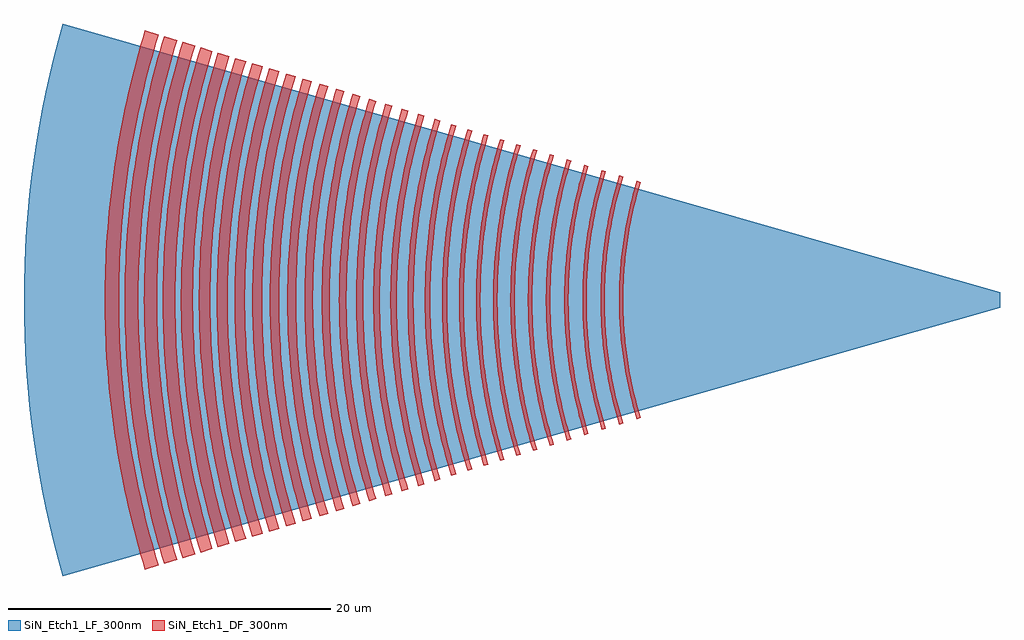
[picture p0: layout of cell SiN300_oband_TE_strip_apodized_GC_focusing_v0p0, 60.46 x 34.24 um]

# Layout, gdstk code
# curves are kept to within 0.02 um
import gdstk
lib = gdstk.Library(unit=1e-6, precision=1e-09)
def P(c, l, *ps):  # polygons
    for p in ps: c.add(gdstk.Polygon(p, *l))
SiN_Etch1_LF_300nm = (203, 0)
SiN_Etch1_DF_300nm = (204, 0)

sin300_oband_te_strip_ap = lib.new_cell('SiN300_oband_TE_strip_apodized_GC_focusing_v0p0')
P(sin300_oband_te_strip_ap, SiN_Etch1_LF_300nm, [(-58.05,-17.121),(-58.611,-15.026),(-59.099,-12.914),(-59.512,-10.786),(-59.852,-8.644),(-60.116,-6.493),(-60.305,-4.333),(-60.418,-2.168),(-60.456,0),(-60.418,2.168),(-60.305,4.333),(-60.116,6.493),(-59.852,8.644),(-59.512,10.786),(-59.099,12.914),(-58.611,15.026),(-58.05,17.121),(0,0.475),(0,-0.475)])
P(sin300_oband_te_strip_ap, SiN_Etch1_DF_300nm, [(-22.492,-7.38),(-22.995,-5.466),(-23.349,-3.514),(-23.532,-1.761),(-23.594,0),(-23.532,1.761),(-23.349,3.514),(-22.995,5.466),(-22.492,7.38),(-22.251,7.309),(-22.702,5.624),(-23.068,3.695),(-23.266,1.961),(-23.343,0),(-23.266,-1.961),(-23.068,-3.695),(-22.702,-5.624),(-22.251,-7.309)],
  [(-23.587,-7.715),(-24.063,-5.938),(-24.449,-3.902),(-24.595,-2.759),(-24.674,-1.842),(-24.739,0),(-24.674,1.842),(-24.595,2.759),(-24.449,3.902),(-24.063,5.938),(-23.587,7.715),(-23.347,7.644),(-23.819,5.882),(-24.009,4.989),(-24.202,3.865),(-24.346,2.733),(-24.425,1.824),(-24.489,0),(-24.425,-1.824),(-24.346,-2.733),(-24.202,-3.865),(-24.009,-4.989),(-23.819,-5.882),(-23.347,-7.644)],
  [(-24.659,-8.044),(-24.924,-7.122),(-25.209,-5.956),(-25.443,-4.779),(-25.594,-3.83),(-25.794,-1.919),(-25.861,0),(-25.794,1.919),(-25.594,3.83),(-25.443,4.779),(-25.209,5.956),(-24.924,7.122),(-24.659,8.044),(-24.42,7.972),(-24.682,7.057),(-24.965,5.902),(-25.311,4.03),(-25.436,3.087),(-25.545,1.902),(-25.611,0),(-25.545,-1.902),(-25.436,-3.087),(-25.311,-4.03),(-24.965,-5.902),(-24.682,-7.057),(-24.42,-7.972)],
  [(-25.739,-8.374),(-26.078,-7.173),(-26.311,-6.201),(-26.675,-4.234),(-26.806,-3.242),(-26.92,-1.998),(-26.99,0),(-26.92,1.998),(-26.806,3.242),(-26.675,4.234),(-26.311,6.201),(-26.078,7.173),(-25.739,8.374),(-25.49,8.3),(-25.826,7.108),(-26.057,6.144),(-26.418,4.196),(-26.548,3.213),(-26.661,1.98),(-26.73,0),(-26.661,-1.98),(-26.548,-3.213),(-26.418,-4.196),(-26.057,-6.144),(-25.826,-7.108),(-25.49,-8.3)],
  [(-26.823,-8.706),(-27.176,-7.456),(-27.418,-6.446),(-27.797,-4.402),(-28.032,-2.336),(-28.096,-1.299),(-28.124,0),(-28.096,1.299),(-28.032,2.336),(-27.797,4.402),(-27.418,6.446),(-27.176,7.456),(-26.823,8.706),(-26.57,8.63),(-26.92,7.39),(-27.16,6.389),(-27.536,4.363),(-27.769,2.316),(-27.832,1.288),(-27.86,0),(-27.832,-1.288),(-27.769,-2.316),(-27.536,-4.363),(-27.16,-6.389),(-26.92,-7.39),(-26.57,-8.63)],
  [(-27.888,-9.032),(-28.254,-7.736),(-28.506,-6.687),(-28.899,-4.567),(-29.143,-2.424),(-29.209,-1.347),(-29.238,0),(-29.209,1.347),(-29.143,2.424),(-28.899,4.567),(-28.506,6.687),(-28.254,7.736),(-27.888,9.032),(-27.637,8.956),(-28.191,6.891),(-28.463,5.582),(-28.64,4.528),(-28.882,2.403),(-28.947,1.336),(-28.976,0),(-28.947,-1.336),(-28.882,-2.403),(-28.64,-4.528),(-28.463,-5.582),(-28.191,-6.891),(-27.637,-8.956)],
  [(-28.926,-9.349),(-29.305,-8.007),(-29.565,-6.922),(-29.972,-4.726),(-30.148,-3.343),(-30.245,-2.231),(-30.304,-1.116),(-30.323,0),(-30.304,1.116),(-30.245,2.231),(-30.148,3.343),(-29.972,4.726),(-29.565,6.922),(-29.305,8.007),(-28.926,9.349),(-28.674,9.273),(-29.247,7.135),(-29.529,5.78),(-29.712,4.688),(-29.856,3.59),(-29.983,2.212),(-30.06,0),(-29.983,-2.212),(-29.856,-3.59),(-29.712,-4.688),(-29.529,-5.78),(-29.247,-7.135),(-28.674,-9.273)],
  [(-29.952,-9.663),(-30.344,-8.275),(-30.613,-7.154),(-30.843,-6.023),(-31.033,-4.886),(-31.294,-2.593),(-31.365,-1.442),(-31.396,0),(-31.365,1.442),(-31.294,2.593),(-31.033,4.886),(-30.843,6.023),(-30.613,7.154),(-30.344,8.275),(-29.952,9.663),(-29.697,9.586),(-30.013,8.486),(-30.29,7.375),(-30.528,6.256),(-30.77,4.846),(-31.029,2.572),(-31.099,1.43),(-31.13,0),(-31.099,-1.43),(-31.029,-2.572),(-30.77,-4.846),(-30.528,-6.256),(-30.29,-7.375),(-30.013,-8.486),(-29.697,-9.586)],
  [(-30.962,-9.971),(-31.29,-8.828),(-31.644,-7.383),(-32.077,-5.042),(-32.266,-3.565),(-32.347,-2.676),(-32.42,-1.487),(-32.452,0),(-32.42,1.487),(-32.347,2.676),(-32.266,3.565),(-32.077,5.042),(-31.644,7.383),(-31.29,8.828),(-30.962,9.971),(-30.705,9.894),(-31.031,8.759),(-31.317,7.613),(-31.617,6.167),(-31.812,5.002),(-31.999,3.537),(-32.102,2.361),(-32.163,1.181),(-32.184,0),(-32.163,-1.181),(-32.102,-2.361),(-31.999,-3.537),(-31.812,-5.002),(-31.617,-6.167),(-31.317,-7.613),(-31.031,-8.759),(-30.705,-9.894)],
  [(-31.968,-10.279),(-32.306,-9.1),(-32.603,-7.91),(-32.858,-6.709),(-33.118,-5.197),(-33.278,-3.98),(-33.418,-2.453),(-33.483,-1.227),(-33.504,0),(-33.483,1.227),(-33.418,2.453),(-33.278,3.98),(-33.118,5.197),(-32.858,6.709),(-32.603,7.91),(-32.306,9.1),(-31.968,10.279),(-31.696,10.197),(-32.032,9.027),(-32.326,7.846),(-32.636,6.356),(-32.837,5.155),(-32.996,3.948),(-33.135,2.433),(-33.199,1.217),(-33.22,0),(-33.199,-1.217),(-33.135,-2.433),(-32.996,-3.948),(-32.837,-5.155),(-32.636,-6.356),(-32.326,-7.846),(-32.032,-9.027),(-31.696,-10.197)],
  [(-32.981,-10.588),(-33.409,-9.069),(-33.705,-7.839),(-33.957,-6.601),(-34.166,-5.354),(-34.33,-4.1),(-34.475,-2.527),(-34.541,-1.264),(-34.563,0),(-34.541,1.264),(-34.475,2.527),(-34.33,4.1),(-34.166,5.354),(-33.957,6.601),(-33.705,7.839),(-33.409,9.069),(-32.981,10.588),(-32.683,10.499),(-33.028,9.294),(-33.332,8.078),(-33.651,6.544),(-33.858,5.308),(-34.021,4.065),(-34.165,2.505),(-34.23,1.253),(-34.252,0),(-34.23,-1.253),(-34.165,-2.505),(-34.021,-4.065),(-33.858,-5.308),(-33.651,-6.544),(-33.332,-8.078),(-33.028,-9.294),(-32.683,-10.499)],
  [(-33.999,-10.899),(-34.357,-9.65),(-34.743,-8.07),(-35.002,-6.795),(-35.217,-5.511),(-35.387,-4.221),(-35.512,-2.926),(-35.592,-1.627),(-35.627,0),(-35.592,1.627),(-35.512,2.926),(-35.387,4.221),(-35.217,5.511),(-35.002,6.795),(-34.743,8.07),(-34.357,9.65),(-33.999,10.899),(-33.676,10.802),(-34.031,9.563),(-34.343,8.311),(-34.611,7.05),(-34.884,5.461),(-35.088,3.862),(-35.2,2.577),(-35.267,1.289),(-35.29,0),(-35.267,-1.289),(-35.2,-2.577),(-35.088,-3.862),(-34.884,-5.461),(-34.611,-7.05),(-34.343,-8.311),(-34.031,-9.563),(-33.676,-10.802)],
  [(-35.018,-11.212),(-35.387,-9.926),(-35.784,-8.301),(-36.051,-6.989),(-36.272,-5.668),(-36.447,-4.341),(-36.575,-3.009),(-36.657,-1.673),(-36.693,0),(-36.657,1.673),(-36.575,3.009),(-36.447,4.341),(-36.272,5.668),(-36.051,6.989),(-35.784,8.301),(-35.387,9.926),(-35.018,11.212),(-34.671,11.107),(-35.037,9.832),(-35.431,8.222),(-35.695,6.923),(-35.914,5.615),(-36.087,4.3),(-36.214,2.981),(-36.308,1.326),(-36.331,0),(-36.308,-1.326),(-36.214,-2.981),(-36.087,-4.3),(-35.914,-5.615),(-35.695,-6.923),(-35.431,-8.222),(-35.037,-9.832),(-34.671,-11.107)],
  [(-36.037,-11.522),(-36.503,-9.869),(-36.824,-8.531),(-37.098,-7.183),(-37.325,-5.826),(-37.505,-4.462),(-37.637,-3.093),(-37.721,-1.718),(-37.758,0),(-37.721,1.718),(-37.637,3.093),(-37.505,4.462),(-37.325,5.826),(-37.098,7.183),(-36.824,8.531),(-36.503,9.869),(-36.037,11.522),(-35.668,11.411),(-36.043,10.102),(-36.373,8.78),(-36.656,7.447),(-36.944,5.769),(-37.122,4.418),(-37.253,3.062),(-37.336,1.702),(-37.373,0),(-37.336,-1.702),(-37.253,-3.062),(-37.122,-4.418),(-36.944,-5.769),(-36.656,-7.447),(-36.373,-8.78),(-36.043,-10.102),(-35.668,-11.411)],
  [(-37.053,-11.833),(-37.442,-10.477),(-37.784,-9.106),(-38.078,-7.724),(-38.377,-5.983),(-38.56,-4.582),(-38.696,-3.176),(-38.797,-1.412),(-38.821,0),(-38.797,1.412),(-38.696,3.176),(-38.56,4.582),(-38.377,5.983),(-38.078,7.724),(-37.784,9.106),(-37.442,10.477),(-37.053,11.833),(-36.661,11.715),(-37.047,10.371),(-37.385,9.014),(-37.676,7.646),(-37.972,5.923),(-38.154,4.536),(-38.314,2.795),(-38.388,1.398),(-38.412,0),(-38.388,-1.398),(-38.314,-2.795),(-38.154,-4.536),(-37.972,-5.923),(-37.676,-7.646),(-37.385,-9.014),(-37.047,-10.371),(-36.661,-11.715)],
  [(-38.069,-12.143),(-38.56,-10.401),(-38.899,-8.991),(-39.188,-7.57),(-39.426,-6.14),(-39.656,-4.342),(-39.782,-2.897),(-39.858,-1.45),(-39.883,0),(-39.858,1.45),(-39.782,2.897),(-39.656,4.342),(-39.426,6.14),(-39.188,7.57),(-38.899,8.991),(-38.56,10.401),(-38.069,12.143),(-37.653,12.018),(-38.14,10.292),(-38.475,8.897),(-38.761,7.491),(-38.997,6.076),(-39.185,4.653),(-39.349,2.867),(-39.424,1.435),(-39.449,0),(-39.424,-1.435),(-39.349,-2.867),(-39.185,-4.653),(-38.997,-6.076),(-38.761,-7.491),(-38.475,-8.897),(-38.14,-10.292),(-37.653,-12.018)],
  [(-39.084,-12.454),(-39.493,-11.026),(-39.853,-9.583),(-40.163,-8.129),(-40.477,-6.297),(-40.671,-4.823),(-40.814,-3.342),(-40.905,-1.858),(-40.945,0),(-40.905,1.858),(-40.814,3.342),(-40.671,4.823),(-40.477,6.297),(-40.163,8.129),(-39.853,9.583),(-39.493,11.026),(-39.084,12.454),(-38.644,12.321),(-39.049,10.907),(-39.405,9.48),(-39.711,8.041),(-40.022,6.229),(-40.214,4.771),(-40.355,3.306),(-40.445,1.838),(-40.485,0),(-40.445,-1.838),(-40.355,-3.306),(-40.214,-4.771),(-40.022,-6.229),(-39.711,-8.041),(-39.405,-9.48),(-39.049,-10.907),(-38.644,-12.321)],
  [(-40.1,-12.765),(-40.618,-10.933),(-40.973,-9.45),(-41.277,-7.958),(-41.529,-6.454),(-41.727,-4.943),(-41.874,-3.426),(-41.982,-1.524),(-42.008,0),(-41.982,1.524),(-41.874,3.426),(-41.727,4.943),(-41.529,6.454),(-41.277,7.958),(-40.973,9.45),(-40.618,10.933),(-40.1,12.765),(-39.634,12.624),(-40.146,10.811),(-40.498,9.345),(-40.798,7.869),(-41.047,6.382),(-41.243,4.888),(-41.416,3.012),(-41.495,1.507),(-41.521,0),(-41.495,-1.507),(-41.416,-3.012),(-41.243,-4.888),(-41.047,-6.382),(-40.798,-7.869),(-40.498,-9.345),(-40.146,-10.811),(-39.634,-12.624)],
  [(-41.122,-13.076),(-41.551,-11.578),(-41.93,-10.063),(-42.327,-8.152),(-42.584,-6.612),(-42.789,-5.065),(-42.967,-3.12),(-43.049,-1.561),(-43.076,0),(-43.049,1.561),(-42.967,3.12),(-42.789,5.065),(-42.584,6.612),(-42.327,8.152),(-41.93,10.063),(-41.551,11.578),(-41.122,13.076),(-40.628,12.928),(-41.053,11.444),(-41.427,9.947),(-41.82,8.058),(-42.074,6.536),(-42.276,5.006),(-42.424,3.469),(-42.518,1.929),(-42.56,0),(-42.518,-1.929),(-42.424,-3.469),(-42.276,-5.006),(-42.074,-6.536),(-41.82,-8.058),(-41.427,-9.947),(-41.053,-11.444),(-40.628,-12.928)],
  [(-42.148,-13.391),(-42.588,-11.855),(-42.975,-10.304),(-43.382,-8.347),(-43.646,-6.771),(-43.855,-5.186),(-44.038,-3.196),(-44.121,-1.599),(-44.149,0),(-44.121,1.599),(-44.038,3.196),(-43.855,5.186),(-43.646,6.771),(-43.382,8.347),(-42.975,10.304),(-42.588,11.855),(-42.148,13.391),(-41.625,13.233),(-42.061,11.714),(-42.443,10.181),(-42.845,8.248),(-43.106,6.69),(-43.312,5.124),(-43.493,3.157),(-43.575,1.58),(-43.603,0),(-43.575,-1.58),(-43.493,-3.157),(-43.312,-5.124),(-43.106,-6.69),(-42.845,-8.248),(-42.443,-10.181),(-42.061,-11.714),(-41.625,-13.233)],
  [(-43.182,-13.705),(-43.631,-12.135),(-44.027,-10.547),(-44.444,-8.544),(-44.714,-6.93),(-44.972,-4.902),(-45.115,-3.271),(-45.201,-1.636),(-45.229,0),(-45.201,1.636),(-45.115,3.271),(-44.972,4.902),(-44.714,6.93),(-44.444,8.544),(-44.027,10.547),(-43.631,12.135),(-43.182,13.705),(-42.629,13.539),(-43.074,11.986),(-43.465,10.417),(-43.877,8.439),(-44.143,6.845),(-44.398,4.841),(-44.539,3.23),(-44.624,1.616),(-44.652,0),(-44.624,-1.616),(-44.539,-3.23),(-44.398,-4.841),(-44.143,-6.845),(-43.877,-8.439),(-43.465,-10.417),(-43.074,-11.986),(-42.629,-13.539)],
  [(-44.22,-14.025),(-44.788,-12.011),(-45.179,-10.383),(-45.513,-8.742),(-45.789,-7.091),(-46.054,-5.014),(-46.2,-3.347),(-46.287,-1.674),(-46.316,0),(-46.287,1.674),(-46.2,3.347),(-46.054,5.014),(-45.789,7.091),(-45.513,8.742),(-45.179,10.383),(-44.788,12.011),(-44.22,14.025),(-43.637,13.848),(-44.093,12.259),(-44.493,10.655),(-44.837,9.037),(-45.187,7.001),(-45.403,5.362),(-45.592,3.304),(-45.678,1.653),(-45.707,0),(-45.678,-1.653),(-45.592,-3.304),(-45.403,-5.362),(-45.187,-7.001),(-44.837,-9.037),(-44.493,-10.655),(-44.093,-12.259),(-43.637,-13.848)],
  [(-45.267,-14.343),(-45.738,-12.7),(-46.153,-11.037),(-46.588,-8.942),(-46.871,-7.253),(-47.095,-5.555),(-47.259,-3.849),(-47.381,-1.712),(-47.41,0),(-47.381,1.712),(-47.259,3.849),(-47.095,5.555),(-46.871,7.253),(-46.588,8.942),(-46.153,11.037),(-45.738,12.7),(-45.267,14.343),(-44.653,14.158),(-45.119,12.534),(-45.528,10.893),(-45.958,8.825),(-46.237,7.158),(-46.458,5.482),(-46.62,3.799),(-46.74,1.69),(-46.769,0),(-46.74,-1.69),(-46.62,-3.799),(-46.458,-5.482),(-46.237,-7.158),(-45.958,-8.825),(-45.528,-10.893),(-45.119,-12.534),(-44.653,-14.158)],
  [(-46.319,-14.666),(-46.802,-12.984),(-47.322,-10.858),(-47.671,-9.143),(-47.96,-7.415),(-48.189,-5.679),(-48.356,-3.935),(-48.481,-1.75),(-48.511,0),(-48.481,1.75),(-48.356,3.935),(-48.189,5.679),(-47.96,7.415),(-47.671,9.143),(-47.322,10.858),(-46.802,12.984),(-46.319,14.666),(-45.674,14.471),(-46.151,12.81),(-46.664,10.712),(-47.008,9.02),(-47.293,7.316),(-47.566,5.174),(-47.716,3.453),(-47.807,1.727),(-47.837,0),(-47.807,-1.727),(-47.716,-3.453),(-47.566,-5.174),(-47.293,-7.316),(-47.008,-9.02),(-46.664,-10.712),(-46.151,-12.81),(-45.674,-14.471)],
  [(-47.379,-14.99),(-47.872,-13.271),(-48.305,-11.535),(-48.677,-9.783),(-49.056,-7.58),(-49.289,-5.805),(-49.461,-4.023),(-49.588,-1.79),(-49.619,0),(-49.588,1.79),(-49.461,4.023),(-49.289,5.805),(-49.056,7.58),(-48.677,9.783),(-48.305,11.535),(-47.872,13.271),(-47.379,14.99),(-46.702,14.785),(-47.189,13.088),(-47.616,11.376),(-47.983,9.649),(-48.357,7.475),(-48.587,5.725),(-48.789,3.528),(-48.881,1.765),(-48.912,0),(-48.881,-1.765),(-48.789,-3.528),(-48.587,-5.725),(-48.357,-7.475),(-47.983,-9.649),(-47.616,-11.376),(-47.189,-13.088),(-46.702,-14.785)],
  [(-48.446,-15.315),(-48.95,-13.56),(-49.392,-11.786),(-49.858,-9.548),(-50.16,-7.744),(-50.398,-5.931),(-50.574,-4.11),(-50.704,-1.828),(-50.735,0),(-50.704,1.828),(-50.574,4.11),(-50.398,5.931),(-50.16,7.744),(-49.858,9.548),(-49.392,11.786),(-48.95,13.56),(-48.446,15.315),(-47.737,15.101),(-48.349,12.932),(-48.77,11.179),(-49.129,9.413),(-49.427,7.635),(-49.662,5.847),(-49.835,4.052),(-49.963,1.803),(-49.994,0),(-49.963,-1.803),(-49.835,-4.052),(-49.662,-5.847),(-49.427,-7.635),(-49.129,-9.413),(-48.77,-11.179),(-48.349,-12.932),(-47.737,-15.101)],
  [(-49.523,-15.645),(-50.038,-13.852),(-50.593,-11.583),(-50.965,-9.753),(-51.274,-7.911),(-51.568,-5.594),(-51.731,-3.734),(-51.829,-1.868),(-51.861,0),(-51.829,1.868),(-51.731,3.734),(-51.568,5.594),(-51.274,7.911),(-50.965,9.753),(-50.593,11.583),(-50.038,13.852),(-49.523,15.645),(-48.78,15.42),(-49.288,13.651),(-49.835,11.415),(-50.202,9.611),(-50.506,7.796),(-50.746,5.971),(-50.957,3.679),(-51.053,1.841),(-51.085,0),(-51.053,-1.841),(-50.957,-3.679),(-50.746,-5.971),(-50.506,-7.796),(-50.202,-9.611),(-49.835,-11.415),(-49.288,-13.651),(-48.78,-15.42)],
  [(-50.634,-15.984),(-51.281,-13.691),(-51.727,-11.835),(-52.107,-9.966),(-52.422,-8.082),(-52.724,-5.716),(-52.89,-3.815),(-52.99,-1.908),(-53.023,0),(-52.99,1.908),(-52.89,3.815),(-52.724,5.716),(-52.422,8.082),(-52.107,9.966),(-51.727,11.835),(-51.281,13.691),(-50.634,15.984),(-49.857,15.749),(-50.495,13.487),(-50.934,11.659),(-51.309,9.817),(-51.619,7.962),(-51.865,6.098),(-52.08,3.758),(-52.178,1.88),(-52.211,0),(-52.178,-1.88),(-52.08,-3.758),(-51.865,-6.098),(-51.619,-7.962),(-51.309,-9.817),(-50.934,-11.659),(-50.495,-13.487),(-49.857,-15.749)],
  [(-51.78,-16.334),(-52.317,-14.462),(-52.897,-12.094),(-53.286,-10.183),(-53.608,-8.259),(-53.862,-6.326),(-54.085,-3.898),(-54.187,-1.95),(-54.221,0),(-54.187,1.95),(-54.085,3.898),(-53.862,6.326),(-53.608,8.259),(-53.286,10.183),(-52.897,12.094),(-52.317,14.462),(-51.78,16.334),(-50.968,16.089),(-51.498,14.243),(-52.069,11.911),(-52.452,10.028),(-52.769,8.134),(-53.072,5.752),(-53.239,3.839),(-53.339,1.921),(-53.373,0),(-53.339,-1.921),(-53.239,-3.839),(-53.072,-5.752),(-52.769,-8.134),(-52.452,-10.028),(-52.069,-11.911),(-51.498,-14.243),(-50.968,-16.089)],
  [(-52.961,-16.695),(-53.51,-14.782),(-53.992,-12.848),(-54.407,-10.898),(-54.828,-8.442),(-55.089,-6.465),(-55.28,-4.481),(-55.421,-1.994),(-55.456,0),(-55.421,1.994),(-55.28,4.481),(-55.089,6.465),(-54.828,8.442),(-54.407,10.898),(-53.992,12.848),(-53.51,14.782),(-52.961,16.695),(-52.114,16.439),(-52.655,14.553),(-53.13,12.649),(-53.538,10.729),(-53.953,8.311),(-54.21,6.365),(-54.398,4.412),(-54.537,1.962),(-54.571,0),(-54.537,-1.962),(-54.398,-4.412),(-54.21,-6.365),(-53.953,-8.311),(-53.538,-10.729),(-53.13,-12.649),(-52.655,-14.553),(-52.114,-16.439)])

lib.write_gds('SiN300_oband_TE_strip_apodized_GC_focusing_v0p0.gds')
